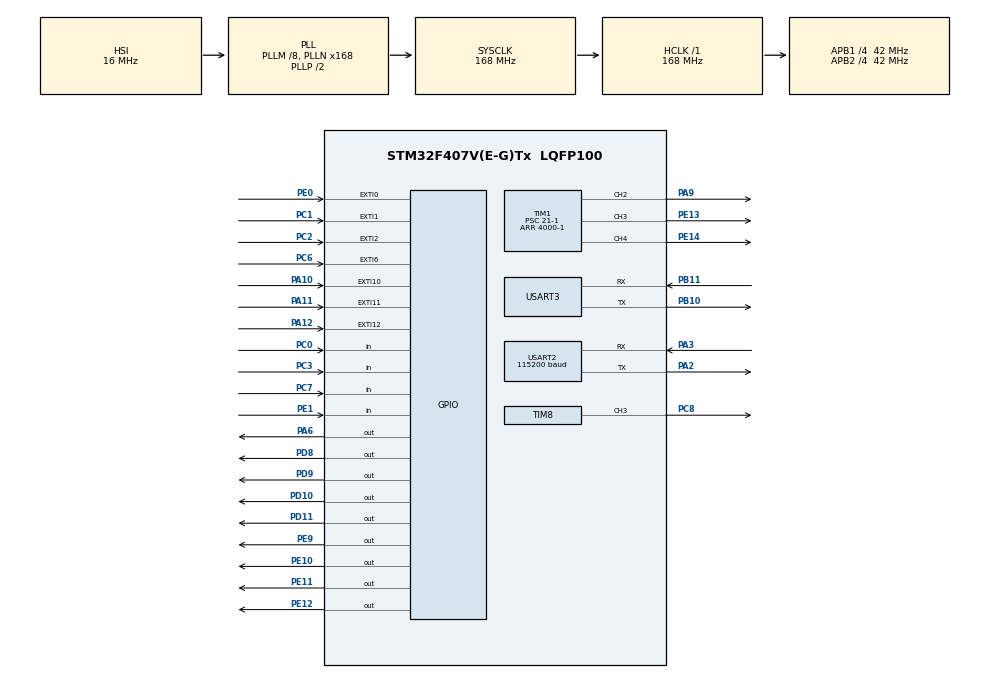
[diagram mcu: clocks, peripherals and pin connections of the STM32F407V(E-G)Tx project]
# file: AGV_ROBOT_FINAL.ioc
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Mcu.Family=STM32F4
NVIC.USART3_IRQn=true\:0\:0\:false\:false\:true\:true\:true
SH.S_TIM1_CH4.0=TIM1_CH4,PWM Generation4 CH4
RCC.CortexFreq_Value=168000000
PB10.Mode=Asynchronous
PA10.GPIO_PuPd=GPIO_PULLUP
Dma.USART2_TX.1.MemInc=DMA_MINC_ENABLE
PA11.GPIO_PuPd=GPIO_PULLUP
PA12.GPIO_ModeDefaultEXTI=GPIO_MODE_IT_FALLING
PB11.Signal=USART3_RX
RCC.SYSCLKSource=RCC_SYSCLKSOURCE_PLLCLK
ProjectManager.StackSize=0x400
NVIC.EXTI1_IRQn=true\:0\:0\:false\:false\:true\:true\:true
PA12.Signal=GPXTI12
TIM1.Prescaler=21-1
Dma.USART2_RX.0.Priority=DMA_PRIORITY_LOW
TIM1.Channel-PWM\ Generation4\ CH4=TIM_CHANNEL_4
Dma.USART2_RX.0.PeriphDataAlignment=DMA_PDATAALIGN_BYTE
RCC.HCLKFreq_Value=168000000
RCC.APB2TimFreq_Value=84000000
PC7.Signal=GPIO_Input
Dma.USART2_TX.1.Mode=DMA_NORMAL
PC3.Signal=GPIO_Input
PD8.Signal=GPIO_Output
PE1.Signal=GPIO_Input
RCC.AHBFreq_Value=168000000
NVIC.EXTI15_10_IRQn=true\:2\:0\:true\:false\:true\:true\:true
RCC.HSE_VALUE=25000000
PC1.GPIO_PuPd=GPIO_PULLUP
PE13.Signal=S_TIM1_CH3
Dma.USART2_RX.0.MemDataAlignment=DMA_MDATAALIGN_BYTE
PE9.Signal=GPIO_Output
PA14.Mode=Serial_Wire
Dma.USART2_TX.1.Instance=DMA1_Stream6
Dma.USART2_RX.0.Instance=DMA1_Stream5
PE10.Signal=GPIO_Output
VP_TIM1_VS_ClockSourceINT.Mode=Internal
TIM9.Prescaler=8400-1
Mcu.Package=LQFP100
PA6.Signal=GPIO_Output
TIM8.Channel-PWM\ Generation3\ CH3=TIM_CHANNEL_3
Dma.USART2_RX.0.PeriphInc=DMA_PINC_DISABLE
PA10.GPIO_ModeDefaultEXTI=GPIO_MODE_IT_FALLING
USART2.VirtualMode=VM_ASYNC
Dma.USART2_RX.0.FIFOMode=DMA_FIFOMODE_DISABLE
PA10.Signal=GPXTI10
PC6.GPIO_PuPd=GPIO_PULLUP
TIM8.Prescaler=21-1
RCC.APB2CLKDivider=RCC_HCLK_DIV4
NVIC.EXTI2_IRQn=true\:0\:0\:false\:false\:true\:true\:true
Dma.Request1=USART2_TX
RCC.APB1TimFreq_Value=84000000
TIM1.Period=4000-1
PC0.GPIO_PuPd=GPIO_PULLUP
PA12.GPIO_PuPd=GPIO_PULLUP
Dma.Request0=USART2_RX
NVIC.DMA1_Stream6_IRQn=true\:0\:0\:false\:false\:true\:false\:true
TIM9.Period=250-1
PC2.GPIO_ModeDefaultEXTI=GPIO_MODE_IT_FALLING
PA3.Signal=USART2_RX
SH.S_TIM8_CH3.0=TIM8_CH3,PWM Generation3 CH3
PE0.GPIO_PuPd=GPIO_PULLUP
Dma.USART2_TX.1.Priority=DMA_PRIORITY_LOW
Dma.USART2_TX.1.FIFOMode=DMA_FIFOMODE_DISABLE
PC8.Signal=S_TIM8_CH3
PC2.Signal=GPXTI2
PC6.Signal=GPXTI6
Dma.USART2_RX.0.Direction=DMA_PERIPH_TO_MEMORY
PE1.GPIO_PuPd=GPIO_PULLUP
PD9.Signal=GPIO_Output
PC0.Signal=GPIO_Input
RCC.APB1CLKDivider=RCC_HCLK_DIV4
Dma.USART2_TX.1.PeriphDataAlignment=DMA_PDATAALIGN_BYTE
NVIC.USART2_IRQn=true\:0\:0\:false\:false\:true\:true\:true
USART2.BaudRate=115200
Dma.USART2_RX.0.Mode=DMA_CIRCULAR
PD10.Signal=GPIO_Output
PA3.Mode=Asynchronous
PA13.Signal=SYS_JTMS-SWDIO
PC6.GPIO_ModeDefaultEXTI=GPIO_MODE_IT_FALLING
PB11.Mode=Asynchronous
ProjectManager.TargetToolchain=STM32CubeIDE
NVIC.DMA1_Stream5_IRQn=true\:0\:0\:false\:false\:true\:false\:true
PE0.GPIO_ModeDefaultEXTI=GPIO_MODE_IT_FALLING
PA9.Signal=S_TIM1_CH2
TIM1.Channel-PWM\ Generation2\ CH2=TIM_CHANNEL_2
VP_TIM8_VS_ClockSourceINT.Mode=Internal
PC7.GPIO_PuPd=GPIO_PULLUP
PE11.Signal=GPIO_Output
RCC.LSE_VALUE=32768
PB10.Signal=USART3_TX
Dma.USART2_TX.1.PeriphInc=DMA_PINC_DISABLE
board=custom
RCC.VCOOutputFreq_Value=336000000
VP_TIM9_VS_ClockSourceINT.Mode=Internal
Dma.USART2_TX.1.Direction=DMA_MEMORY_TO_PERIPH
RCC.APB2Freq_Value=42000000
PE14.Signal=S_TIM1_CH4
SH.S_TIM1_CH2.0=TIM1_CH2,PWM Generation2 CH2
PC2.GPIO_PuPd=GPIO_PULLUP
PA13.Mode=Serial_Wire
PE0.Signal=GPXTI0
Mcu.Name=STM32F407V(E-G)Tx
Dma.USART2_RX.0.MemInc=DMA_MINC_ENABLE
PE12.Signal=GPIO_Output
NVIC.TIM1_BRK_TIM9_IRQn=true\:0\:0\:false\:false\:true\:true\:true
PA2.Signal=USART2_TX
TIM8.Period=4000-1
RCC.48MHZClocksFreq_Value=84000000
NVIC.EXTI0_IRQn=true\:0\:0\:false\:false\:true\:true\:true
RCC.SYSCLKFreq_VALUE=168000000
USART3.VirtualMode=VM_ASYNC
PD11.Signal=GPIO_Output
PA11.Signal=GPXTI11
NVIC.EXTI9_5_IRQn=true\:0\:0\:false\:false\:true\:true\:true
PA14.Signal=SYS_JTCK-SWCLK
ProjectManager.HeapSize=0x200
SH.S_TIM1_CH3.0=TIM1_CH3,PWM Generation3 CH3
RCC.HSI_VALUE=16000000
NVIC.PriorityGroup=NVIC_PRIORITYGROUP_4
RCC.PLLM=8
RCC.PLLN=168
PC1.GPIO_ModeDefaultEXTI=GPIO_MODE_IT_FALLING
PA2.Mode=Asynchronous
Dma.USART2_TX.1.MemDataAlignment=DMA_MDATAALIGN_BYTE
TIM1.Channel-PWM\ Generation3\ CH3=TIM_CHANNEL_3
PA11.GPIO_ModeDefaultEXTI=GPIO_MODE_IT_FALLING
RCC.APB1Freq_Value=42000000
PC1.Signal=GPXTI1
PC3.GPIO_PuPd=GPIO_PULLUP

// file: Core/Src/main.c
/* USER CODE BEGIN Header */
/**
  ******************************************************************************
  * @file           : main.c
  * @brief          : Main program body
  ******************************************************************************
  * @attention
  *
  * <h2><center>&copy; Copyright (c) 2021 STMicroelectronics.
  * All rights reserved.</center></h2>
  *
  * This software component is licensed by ST under BSD 3-Clause license,
  * the "License"; You may not use this file except in compliance with the
  * License. You may obtain a copy of the License at:
  *                        opensource.org/licenses/BSD-3-Clause
  *
  ******************************************************************************
  */
/* USER CODE END Header */
#include "main.h"

/* USER CODE BEGIN Includes */
#include "mainpp.h"
#include <stdlib.h>
#include <string.h>
/* USER CODE END Includes */

TIM_HandleTypeDef htim1;
TIM_HandleTypeDef htim8;
TIM_HandleTypeDef htim9;

UART_HandleTypeDef huart2;
UART_HandleTypeDef huart3;
DMA_HandleTypeDef hdma_usart2_rx;
DMA_HandleTypeDef hdma_usart2_tx;

void SystemClock_Config(void);
static void MX_GPIO_Init(void);
static void MX_DMA_Init(void);
static void MX_USART2_UART_Init(void);
static void MX_TIM1_Init(void);
static void MX_TIM9_Init(void);
static void MX_USART3_UART_Init(void);
static void MX_TIM8_Init(void);

/* USER CODE BEGIN 0 */
int chuyenChartoInt(char c)
{
		return (int)c-48;
}
void DC1_nghich(int speed)
{
	__HAL_TIM_SET_COMPARE(&htim1,TIM_CHANNEL_3,speed);
	HAL_GPIO_WritePin(GPIOE,GPIO_PIN_11,GPIO_PIN_SET);
	HAL_GPIO_WritePin(GPIOE,GPIO_PIN_12,GPIO_PIN_RESET);
}
void DC1_thuan(int speed)
{
	__HAL_TIM_SET_COMPARE(&htim1,TIM_CHANNEL_3,speed);
	HAL_GPIO_WritePin(GPIOE,GPIO_PIN_11,GPIO_PIN_RESET);
	HAL_GPIO_WritePin(GPIOE,GPIO_PIN_12,GPIO_PIN_SET);
}
void DC3_thuan(int speed)
{
	__HAL_TIM_SET_COMPARE(&htim1,TIM_CHANNEL_4,speed);
	HAL_GPIO_WritePin(GPIOE,GPIO_PIN_9,GPIO_PIN_SET);
	HAL_GPIO_WritePin(GPIOE,GPIO_PIN_10,GPIO_PIN_RESET);
}
void DC3_nghich(int speed)
{
	__HAL_TIM_SET_COMPARE(&htim1,TIM_CHANNEL_4,speed);
	HAL_GPIO_WritePin(GPIOE,GPIO_PIN_9,GPIO_PIN_RESET);
	HAL_GPIO_WritePin(GPIOE,GPIO_PIN_10,GPIO_PIN_SET);
}

void DC4_thuan(int speed)
{
	__HAL_TIM_SET_COMPARE(&htim8,TIM_CHANNEL_3,speed);
	HAL_GPIO_WritePin(GPIOD,GPIO_PIN_10,GPIO_PIN_RESET);
	HAL_GPIO_WritePin(GPIOD,GPIO_PIN_11,GPIO_PIN_SET);
}
void DC4_nghich(int speed)
{
	__HAL_TIM_SET_COMPARE(&htim8,TIM_CHANNEL_3,speed);
	HAL_GPIO_WritePin(GPIOD,GPIO_PIN_10,GPIO_PIN_SET);
	HAL_GPIO_WritePin(GPIOD,GPIO_PIN_11,GPIO_PIN_RESET);
}

void DC2_nghich(int speed)
{
	__HAL_TIM_SET_COMPARE(&htim1,TIM_CHANNEL_2,speed);
	HAL_GPIO_WritePin(GPIOD,GPIO_PIN_8,GPIO_PIN_RESET);
	HAL_GPIO_WritePin(GPIOD,GPIO_PIN_9,GPIO_PIN_SET);
}
void DC2_thuan(int speed)
{
	__HAL_TIM_SET_COMPARE(&htim1,TIM_CHANNEL_2,speed);
	HAL_GPIO_WritePin(GPIOD,GPIO_PIN_8,GPIO_PIN_SET);
	HAL_GPIO_WritePin(GPIOD,GPIO_PIN_9,GPIO_PIN_RESET);
}

void ngangPhai()
{
	DC1_thuan(PWM1);
	DC3_nghich(PWM3);
	DC2_nghich(PWM2);
	DC4_thuan(PWM4);
}
void ngangTrai()
{
	DC1_nghich(PWM1);
	DC3_thuan(PWM3);
	DC2_thuan(PWM2);
	DC4_nghich(PWM4);
}

void lui()
{
	DC1_nghich(PWM1);
	DC4_nghich(PWM4);
	DC2_nghich(PWM2);
	DC3_nghich(PWM3);
}

void tien()
{
	DC1_thuan(PWM1);
	DC4_thuan(PWM4);
	DC2_thuan(PWM2);
	DC3_thuan(PWM3);
}
void xoayTrai()
{
	DC1_nghich(PWM1);
	DC2_thuan(PWM2);
	DC3_nghich(PWM3);
	DC4_thuan(PWM4);
}
void xoayPhai()
{
	DC1_thuan(PWM1);
	DC2_nghich(PWM2);
	DC3_thuan(PWM3);
	DC4_nghich(PWM4);
}

void dung()
{
	HAL_GPIO_WritePin(GPIOE,GPIO_PIN_11,GPIO_PIN_SET);
	HAL_GPIO_WritePin(GPIOE,GPIO_PIN_12,GPIO_PIN_SET);

	HAL_GPIO_WritePin(GPIOE,GPIO_PIN_9,GPIO_PIN_SET);
	HAL_GPIO_WritePin(GPIOE,GPIO_PIN_10,GPIO_PIN_SET);

	HAL_GPIO_WritePin(GPIOD,GPIO_PIN_10,GPIO_PIN_SET);
	HAL_GPIO_WritePin(GPIOD,GPIO_PIN_11,GPIO_PIN_SET);

	HAL_GPIO_WritePin(GPIOD,GPIO_PIN_8,GPIO_PIN_SET);
	HAL_GPIO_WritePin(GPIOD,GPIO_PIN_9,GPIO_PIN_SET);
}

void xienPhai()
{
	DC1_thuan(PWM1);
	DC3_thuan(PWM3);

	HAL_GPIO_WritePin(GPIOE,GPIO_PIN_9,GPIO_PIN_SET);
	HAL_GPIO_WritePin(GPIOE,GPIO_PIN_10,GPIO_PIN_SET);

	HAL_GPIO_WritePin(GPIOD,GPIO_PIN_8,GPIO_PIN_SET);
	HAL_GPIO_WritePin(GPIOD,GPIO_PIN_9,GPIO_PIN_SET);
}

void xienTrai()
{
	DC2_thuan(PWM2);
	DC4_thuan(PWM4);

	HAL_GPIO_WritePin(GPIOE,GPIO_PIN_11,GPIO_PIN_SET);
	HAL_GPIO_WritePin(GPIOE,GPIO_PIN_12,GPIO_PIN_SET);

	HAL_GPIO_WritePin(GPIOD,GPIO_PIN_10,GPIO_PIN_SET);
	HAL_GPIO_WritePin(GPIOD,GPIO_PIN_11,GPIO_PIN_SET);
}
/* USER CODE END 0 */

int main(void)
{

  /* MCU Configuration--------------------------------------------------------*/

  /* Reset of all peripherals, Initializes the Flash interface and the Systick. */
  HAL_Init();

  /* Configure the system clock */
  SystemClock_Config();

  /* Initialize all configured peripherals */
  MX_GPIO_Init();
  MX_DMA_Init();
  MX_USART2_UART_Init();
  MX_TIM1_Init();
  MX_TIM9_Init();
  MX_USART3_UART_Init();
  MX_TIM8_Init();
  /* USER CODE BEGIN 2 */
	HAL_TIM_PWM_Start(&htim1,TIM_CHANNEL_3);
	HAL_TIM_PWM_Start(&htim1,TIM_CHANNEL_4);
	HAL_TIM_PWM_Start(&htim8,TIM_CHANNEL_3);
	HAL_TIM_PWM_Start(&htim1,TIM_CHANNEL_2);
	HAL_TIM_Base_Start_IT(&htim9);
	//HAL_UART_Receive_IT(&huart3, &pData, 1);
	setup();
  /* USER CODE END 2 */

  /* Infinite loop */
  /* USER CODE BEGIN WHILE */
  while (1)
  {
	  loop();
    /* USER CODE END WHILE */

  }
}

void SystemClock_Config(void)
{
  RCC_OscInitTypeDef RCC_OscInitStruct = {0};
  RCC_ClkInitTypeDef RCC_ClkInitStruct = {0};

  /** Configure the main internal regulator output voltage
  */
  __HAL_RCC_PWR_CLK_ENABLE();
  __HAL_PWR_VOLTAGESCALING_CONFIG(PWR_REGULATOR_VOLTAGE_SCALE1);
  /** Initializes the RCC Oscillators according to the specified parameters
  * in the RCC_OscInitTypeDef structure.
  */
  RCC_OscInitStruct.OscillatorType = RCC_OSCILLATORTYPE_HSI;
  RCC_OscInitStruct.HSIState = RCC_HSI_ON;
  RCC_OscInitStruct.HSICalibrationValue = RCC_HSICALIBRATION_DEFAULT;
  RCC_OscInitStruct.PLL.PLLState = RCC_PLL_ON;
  RCC_OscInitStruct.PLL.PLLSource = RCC_PLLSOURCE_HSI;
  RCC_OscInitStruct.PLL.PLLM = 8;
  RCC_OscInitStruct.PLL.PLLN = 168;
  RCC_OscInitStruct.PLL.PLLP = RCC_PLLP_DIV2;
  RCC_OscInitStruct.PLL.PLLQ = 4;
  if (HAL_RCC_OscConfig(&RCC_OscInitStruct) != HAL_OK)
  {
    Error_Handler();
  }
  /** Initializes the CPU, AHB and APB buses clocks
  */
  RCC_ClkInitStruct.ClockType = RCC_CLOCKTYPE_HCLK|RCC_CLOCKTYPE_SYSCLK
                              |RCC_CLOCKTYPE_PCLK1|RCC_CLOCKTYPE_PCLK2;
  RCC_ClkInitStruct.SYSCLKSource = RCC_SYSCLKSOURCE_PLLCLK;
  RCC_ClkInitStruct.AHBCLKDivider = RCC_SYSCLK_DIV1;
  RCC_ClkInitStruct.APB1CLKDivider = RCC_HCLK_DIV4;
  RCC_ClkInitStruct.APB2CLKDivider = RCC_HCLK_DIV4;

  if (HAL_RCC_ClockConfig(&RCC_ClkInitStruct, FLASH_LATENCY_5) != HAL_OK)
  {
    Error_Handler();
  }
}

static void MX_TIM1_Init(void)
{

  TIM_ClockConfigTypeDef sClockSourceConfig = {0};
  TIM_MasterConfigTypeDef sMasterConfig = {0};
  TIM_OC_InitTypeDef sConfigOC = {0};
  TIM_BreakDeadTimeConfigTypeDef sBreakDeadTimeConfig = {0};

  htim1.Instance = TIM1;
  htim1.Init.Prescaler = 21-1;
  htim1.Init.CounterMode = TIM_COUNTERMODE_UP;
  htim1.Init.Period = 4000-1;
  htim1.Init.ClockDivision = TIM_CLOCKDIVISION_DIV1;
  htim1.Init.RepetitionCounter = 0;
  htim1.Init.AutoReloadPreload = TIM_AUTORELOAD_PRELOAD_DISABLE;
  if (HAL_TIM_Base_Init(&htim1) != HAL_OK)
  {
    Error_Handler();
  }
  sClockSourceConfig.ClockSource = TIM_CLOCKSOURCE_INTERNAL;
  if (HAL_TIM_ConfigClockSource(&htim1, &sClockSourceConfig) != HAL_OK)
  {
    Error_Handler();
  }
  if (HAL_TIM_PWM_Init(&htim1) != HAL_OK)
  {
    Error_Handler();
  }
  sMasterConfig.MasterOutputTrigger = TIM_TRGO_RESET;
  sMasterConfig.MasterSlaveMode = TIM_MASTERSLAVEMODE_DISABLE;
  if (HAL_TIMEx_MasterConfigSynchronization(&htim1, &sMasterConfig) != HAL_OK)
  {
    Error_Handler();
  }
  sConfigOC.OCMode = TIM_OCMODE_PWM1;
  sConfigOC.Pulse = 0;
  sConfigOC.OCPolarity = TIM_OCPOLARITY_HIGH;
  sConfigOC.OCNPolarity = TIM_OCNPOLARITY_HIGH;
  sConfigOC.OCFastMode = TIM_OCFAST_DISABLE;
  sConfigOC.OCIdleState = TIM_OCIDLESTATE_RESET;
  sConfigOC.OCNIdleState = TIM_OCNIDLESTATE_RESET;
  if (HAL_TIM_PWM_ConfigChannel(&htim1, &sConfigOC, TIM_CHANNEL_2) != HAL_OK)
  {
    Error_Handler();
  }
  if (HAL_TIM_PWM_ConfigChannel(&htim1, &sConfigOC, TIM_CHANNEL_3) != HAL_OK)
  {
    Error_Handler();
  }
  if (HAL_TIM_PWM_ConfigChannel(&htim1, &sConfigOC, TIM_CHANNEL_4) != HAL_OK)
  {
    Error_Handler();
  }
  sBreakDeadTimeConfig.OffStateRunMode = TIM_OSSR_DISABLE;
  sBreakDeadTimeConfig.OffStateIDLEMode = TIM_OSSI_DISABLE;
  sBreakDeadTimeConfig.LockLevel = TIM_LOCKLEVEL_OFF;
  sBreakDeadTimeConfig.DeadTime = 0;
  sBreakDeadTimeConfig.BreakState = TIM_BREAK_DISABLE;
  sBreakDeadTimeConfig.BreakPolarity = TIM_BREAKPOLARITY_HIGH;
  sBreakDeadTimeConfig.AutomaticOutput = TIM_AUTOMATICOUTPUT_DISABLE;
  if (HAL_TIMEx_ConfigBreakDeadTime(&htim1, &sBreakDeadTimeConfig) != HAL_OK)
  {
    Error_Handler();
  }
  HAL_TIM_MspPostInit(&htim1);

}

static void MX_TIM8_Init(void)
{

  TIM_ClockConfigTypeDef sClockSourceConfig = {0};
  TIM_MasterConfigTypeDef sMasterConfig = {0};
  TIM_OC_InitTypeDef sConfigOC = {0};
  TIM_BreakDeadTimeConfigTypeDef sBreakDeadTimeConfig = {0};

  htim8.Instance = TIM8;
  htim8.Init.Prescaler = 21-1;
  htim8.Init.CounterMode = TIM_COUNTERMODE_UP;
  htim8.Init.Period = 4000-1;
  htim8.Init.ClockDivision = TIM_CLOCKDIVISION_DIV1;
  htim8.Init.RepetitionCounter = 0;
  htim8.Init.AutoReloadPreload = TIM_AUTORELOAD_PRELOAD_DISABLE;
  if (HAL_TIM_Base_Init(&htim8) != HAL_OK)
  {
    Error_Handler();
  }
  sClockSourceConfig.ClockSource = TIM_CLOCKSOURCE_INTERNAL;
  if (HAL_TIM_ConfigClockSource(&htim8, &sClockSourceConfig) != HAL_OK)
  {
    Error_Handler();
  }
  if (HAL_TIM_PWM_Init(&htim8) != HAL_OK)
  {
    Error_Handler();
  }
  sMasterConfig.MasterOutputTrigger = TIM_TRGO_RESET;
  sMasterConfig.MasterSlaveMode = TIM_MASTERSLAVEMODE_DISABLE;
  if (HAL_TIMEx_MasterConfigSynchronization(&htim8, &sMasterConfig) != HAL_OK)
  {
    Error_Handler();
  }
  sConfigOC.OCMode = TIM_OCMODE_PWM1;
  sConfigOC.Pulse = 0;
  sConfigOC.OCPolarity = TIM_OCPOLARITY_HIGH;
  sConfigOC.OCNPolarity = TIM_OCNPOLARITY_HIGH;
  sConfigOC.OCFastMode = TIM_OCFAST_DISABLE;
  sConfigOC.OCIdleState = TIM_OCIDLESTATE_RESET;
  sConfigOC.OCNIdleState = TIM_OCNIDLESTATE_RESET;
  if (HAL_TIM_PWM_ConfigChannel(&htim8, &sConfigOC, TIM_CHANNEL_3) != HAL_OK)
  {
    Error_Handler();
  }
  sBreakDeadTimeConfig.OffStateRunMode = TIM_OSSR_DISABLE;
  sBreakDeadTimeConfig.OffStateIDLEMode = TIM_OSSI_DISABLE;
  sBreakDeadTimeConfig.LockLevel = TIM_LOCKLEVEL_OFF;
  sBreakDeadTimeConfig.DeadTime = 0;
  sBreakDeadTimeConfig.BreakState = TIM_BREAK_DISABLE;
  sBreakDeadTimeConfig.BreakPolarity = TIM_BREAKPOLARITY_HIGH;
  sBreakDeadTimeConfig.AutomaticOutput = TIM_AUTOMATICOUTPUT_DISABLE;
  if (HAL_TIMEx_ConfigBreakDeadTime(&htim8, &sBreakDeadTimeConfig) != HAL_OK)
  {
    Error_Handler();
  }
  HAL_TIM_MspPostInit(&htim8);

}

static void MX_TIM9_Init(void)
{

  TIM_ClockConfigTypeDef sClockSourceConfig = {0};

  htim9.Instance = TIM9;
  htim9.Init.Prescaler = 8400-1;
  htim9.Init.CounterMode = TIM_COUNTERMODE_UP;
  htim9.Init.Period = 250-1;
  htim9.Init.ClockDivision = TIM_CLOCKDIVISION_DIV1;
  htim9.Init.AutoReloadPreload = TIM_AUTORELOAD_PRELOAD_DISABLE;
  if (HAL_TIM_Base_Init(&htim9) != HAL_OK)
  {
    Error_Handler();
  }
  sClockSourceConfig.ClockSource = TIM_CLOCKSOURCE_INTERNAL;
  if (HAL_TIM_ConfigClockSource(&htim9, &sClockSourceConfig) != HAL_OK)
  {
    Error_Handler();
  }

}

static void MX_USART2_UART_Init(void)
{

  huart2.Instance = USART2;
  huart2.Init.BaudRate = 115200;
  huart2.Init.WordLength = UART_WORDLENGTH_8B;
  huart2.Init.StopBits = UART_STOPBITS_1;
  huart2.Init.Parity = UART_PARITY_NONE;
  huart2.Init.Mode = UART_MODE_TX_RX;
  huart2.Init.HwFlowCtl = UART_HWCONTROL_NONE;
  huart2.Init.OverSampling = UART_OVERSAMPLING_16;
  if (HAL_UART_Init(&huart2) != HAL_OK)
  {
    Error_Handler();
  }

}

static void MX_USART3_UART_Init(void)
{

  huart3.Instance = USART3;
  huart3.Init.BaudRate = 115200;
  huart3.Init.WordLength = UART_WORDLENGTH_8B;
  huart3.Init.StopBits = UART_STOPBITS_1;
  huart3.Init.Parity = UART_PARITY_NONE;
  huart3.Init.Mode = UART_MODE_TX_RX;
  huart3.Init.HwFlowCtl = UART_HWCONTROL_NONE;
  huart3.Init.OverSampling = UART_OVERSAMPLING_16;
  if (HAL_UART_Init(&huart3) != HAL_OK)
  {
    Error_Handler();
  }

}

static void MX_DMA_Init(void)
{

  /* DMA controller clock enable */
  __HAL_RCC_DMA1_CLK_ENABLE();

  /* DMA interrupt init */
  /* DMA1_Stream5_IRQn interrupt configuration */
  HAL_NVIC_SetPriority(DMA1_Stream5_IRQn, 0, 0);
  HAL_NVIC_EnableIRQ(DMA1_Stream5_IRQn);
  /* DMA1_Stream6_IRQn interrupt configuration */
  HAL_NVIC_SetPriority(DMA1_Stream6_IRQn, 0, 0);
  HAL_NVIC_EnableIRQ(DMA1_Stream6_IRQn);

}

static void MX_GPIO_Init(void)
{
  GPIO_InitTypeDef GPIO_InitStruct = {0};

  /* GPIO Ports Clock Enable */
  __HAL_RCC_GPIOC_CLK_ENABLE();
  __HAL_RCC_GPIOA_CLK_ENABLE();
  __HAL_RCC_GPIOE_CLK_ENABLE();
  __HAL_RCC_GPIOB_CLK_ENABLE();
  __HAL_RCC_GPIOD_CLK_ENABLE();

  /*Configure GPIO pin Output Level */
  HAL_GPIO_WritePin(GPIOA, GPIO_PIN_6, GPIO_PIN_RESET);

  /*Configure GPIO pin Output Level */
  HAL_GPIO_WritePin(GPIOE, GPIO_PIN_9|GPIO_PIN_10|GPIO_PIN_11|GPIO_PIN_12, GPIO_PIN_RESET);

  /*Configure GPIO pin Output Level */
  HAL_GPIO_WritePin(GPIOD, GPIO_PIN_8|GPIO_PIN_9|GPIO_PIN_10|GPIO_PIN_11, GPIO_PIN_RESET);

  /*Configure GPIO pins : PC0 PC3 PC7 */
  GPIO_InitStruct.Pin = GPIO_PIN_0|GPIO_PIN_3|GPIO_PIN_7;
  GPIO_InitStruct.Mode = GPIO_MODE_INPUT;
  GPIO_InitStruct.Pull = GPIO_PULLUP;
  HAL_GPIO_Init(GPIOC, &GPIO_InitStruct);

  /*Configure GPIO pins : PC1 PC2 PC6 */
  GPIO_InitStruct.Pin = GPIO_PIN_1|GPIO_PIN_2|GPIO_PIN_6;
  GPIO_InitStruct.Mode = GPIO_MODE_IT_FALLING;
  GPIO_InitStruct.Pull = GPIO_PULLUP;
  HAL_GPIO_Init(GPIOC, &GPIO_InitStruct);

  /*Configure GPIO pin : PA6 */
  GPIO_InitStruct.Pin = GPIO_PIN_6;
  GPIO_InitStruct.Mode = GPIO_MODE_OUTPUT_PP;
  GPIO_InitStruct.Pull = GPIO_NOPULL;
  GPIO_InitStruct.Speed = GPIO_SPEED_FREQ_LOW;
  HAL_GPIO_Init(GPIOA, &GPIO_InitStruct);

  /*Configure GPIO pins : PE9 PE10 PE11 PE12 */
  GPIO_InitStruct.Pin = GPIO_PIN_9|GPIO_PIN_10|GPIO_PIN_11|GPIO_PIN_12;
  GPIO_InitStruct.Mode = GPIO_MODE_OUTPUT_PP;
  GPIO_InitStruct.Pull = GPIO_NOPULL;
  GPIO_InitStruct.Speed = GPIO_SPEED_FREQ_LOW;
  HAL_GPIO_Init(GPIOE, &GPIO_InitStruct);

  /*Configure GPIO pins : PD8 PD9 PD10 PD11 */
  GPIO_InitStruct.Pin = GPIO_PIN_8|GPIO_PIN_9|GPIO_PIN_10|GPIO_PIN_11;
  GPIO_InitStruct.Mode = GPIO_MODE_OUTPUT_PP;
  GPIO_InitStruct.Pull = GPIO_NOPULL;
  GPIO_InitStruct.Speed = GPIO_SPEED_FREQ_LOW;
  HAL_GPIO_Init(GPIOD, &GPIO_InitStruct);

  /*Configure GPIO pins : PA10 PA11 PA12 */
  GPIO_InitStruct.Pin = GPIO_PIN_10|GPIO_PIN_11|GPIO_PIN_12;
  GPIO_InitStruct.Mode = GPIO_MODE_IT_FALLING;
  GPIO_InitStruct.Pull = GPIO_PULLUP;
  HAL_GPIO_Init(GPIOA, &GPIO_InitStruct);

  /*Configure GPIO pin : PE0 */
  GPIO_InitStruct.Pin = GPIO_PIN_0;
  GPIO_InitStruct.Mode = GPIO_MODE_IT_FALLING;
  GPIO_InitStruct.Pull = GPIO_PULLUP;
  HAL_GPIO_Init(GPIOE, &GPIO_InitStruct);

  /*Configure GPIO pin : PE1 */
  GPIO_InitStruct.Pin = GPIO_PIN_1;
  GPIO_InitStruct.Mode = GPIO_MODE_INPUT;
  GPIO_InitStruct.Pull = GPIO_PULLUP;
  HAL_GPIO_Init(GPIOE, &GPIO_InitStruct);

  /* EXTI interrupt init*/
  HAL_NVIC_SetPriority(EXTI0_IRQn, 0, 0);
  HAL_NVIC_EnableIRQ(EXTI0_IRQn);

  HAL_NVIC_SetPriority(EXTI1_IRQn, 0, 0);
  HAL_NVIC_EnableIRQ(EXTI1_IRQn);

  HAL_NVIC_SetPriority(EXTI2_IRQn, 0, 0);
  HAL_NVIC_EnableIRQ(EXTI2_IRQn);

  HAL_NVIC_SetPriority(EXTI9_5_IRQn, 0, 0);
  HAL_NVIC_EnableIRQ(EXTI9_5_IRQn);

  HAL_NVIC_SetPriority(EXTI15_10_IRQn, 2, 0);
  HAL_NVIC_EnableIRQ(EXTI15_10_IRQn);

}

void Error_Handler(void)
{
  __disable_irq();
  while (1)
  {
  }
}

/************************ (C) COPYRIGHT STMicroelectronics *****END OF FILE****/
